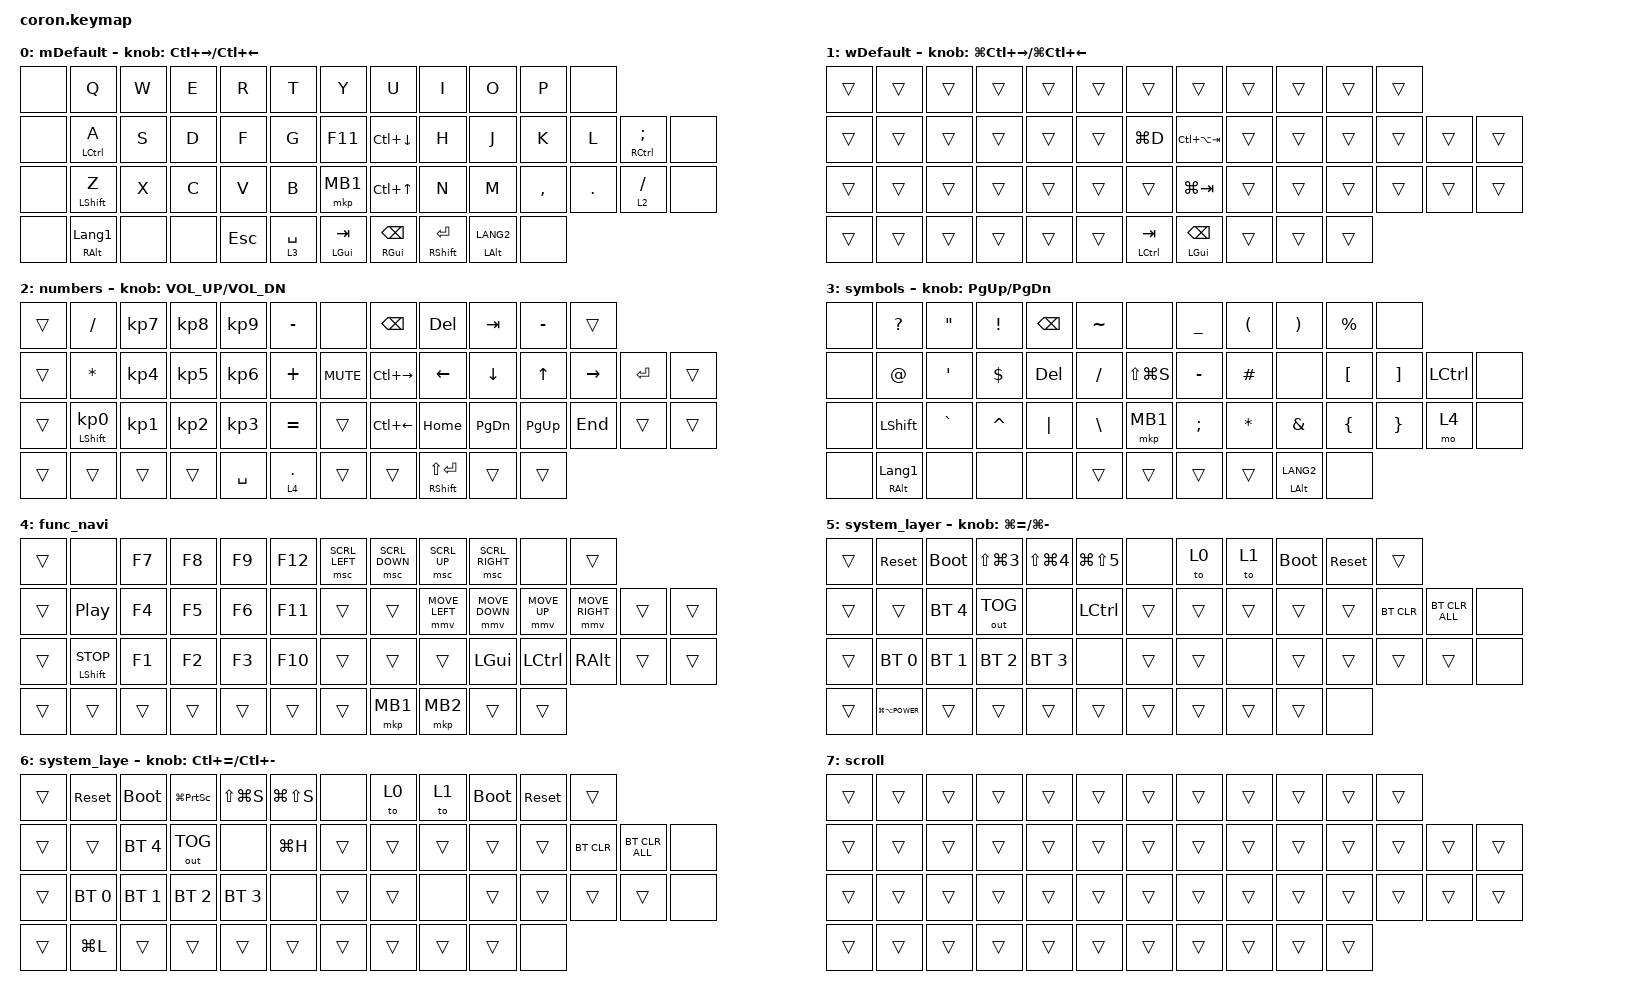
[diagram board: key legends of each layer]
/* coron.keymap */

#include <dt-bindings/zmk/input_transform.h>
#include <input/processors.dtsi>
#include <behaviors.dtsi>
#include <dt-bindings/zmk/bt.h>
#include <dt-bindings/zmk/keys.h>
#include <dt-bindings/zmk/outputs.h>
#include <dt-bindings/zmk/pointing.h>

&mt {
    flavor = "balanced";
    quick-tap-ms = <0>;
};

&trackball {
    scroll-layers = <3 7>;
    snipe-layers = <2>;
};

/ {
    combos {
        compatible = "zmk,combos";

        /* Note: Key positions have shifted due to added columns.
           You will need to recalculate these indices later. */

        to_mac_system {
            bindings = <&mo 5>;
            key-positions = <45 46>;
            layers = <0>;
        };

        to_win_system {
            bindings = <&mo 6>;
            key-positions = <45 46>;
            layers = <1>;
        };

        click {
            bindings = <&mkp MB1>;
            key-positions = <22 23>;
        };

        right_click {
            bindings = <&mkp MB2>;
            key-positions = <36 37>;
        };

        mid_click {
            bindings = <&mkp MB3>;
            key-positions = <9 8>;
        };

        mac_virtual_desk1 {
            bindings = <&kp LC(RIGHT)>;
            key-positions = <6 7>;
            layers = <0>;
        };

        mac_virtual_desktop2 {
            bindings = <&kp LC(LEFT)>;
            key-positions = <4 5>;
            layers = <0>;
        };

        win_virtual_desktop1 {
            bindings = <&kp LC(LG(RIGHT))>;
            key-positions = <6 7>;
            layers = <1>;
        };

        win_virtual_desktop2 {
            bindings = <&kp LC(LG(LEFT))>;
            key-positions = <5 4>;
            layers = <1>;
        };

        to_scroll {
            bindings = <&mo 7>;
            key-positions = <23 24>;
        };
    };

    macros {
        to_layer_0: to_layer_0 {
            compatible = "zmk,behavior-macro-one-param";
            #binding-cells = <1>;
            bindings = <&to 0 &macro_param_1to1 &kp MACRO_PLACEHOLDER>;
            label = "TO_LAYER_0";
        };
    };

    behaviors {
        lt_to_layer_0: lt_to_layer_0 {
            compatible = "zmk,behavior-hold-tap";
            label = "LAYER_TAP_TO_0";
            bindings = <&mo>, <&to_layer_0>;

            #binding-cells = <2>;
            tapping-term-ms = <200>;
        };

        mt2: mod_tap2 {
            compatible = "zmk,behavior-hold-tap";
            label = "mt2";
            bindings = <&kp>, <&kp>;

            #binding-cells = <2>;
            tapping-term-ms = <200>;
            flavor = "tap-preferred";
            quick-tap-ms = <200>;
            require-prior-idle-ms = <125>;
        };

        hold_mt: hold_mt {
            compatible = "zmk,behavior-hold-tap";
            label = "HOLD_MT";
            bindings = <&kp>, <&kp>;

            #binding-cells = <2>;
            tapping-term-ms = <200>;
            quick-tap-ms = <200>;
            require-prior-idle-ms = <125>;
        };
    };

    keymap {
        compatible = "zmk,keymap";

        mac_default {
            bindings = <
&none  &kp Q                      &kp W  &kp E  &kp R       &kp T        &kp Y              &kp U                         &kp I                   &kp O                &kp P      &none
&none  &mt2 LEFT_CONTROL A        &kp S  &kp D  &kp F       &kp G        &kp F11            &kp LC(DOWN)                  &kp H                   &kp J                &kp K      &kp L    &mt2 RIGHT_CONTROL SEMI  &none
&none  &mt LEFT_SHIFT Z           &kp X  &kp C  &kp V       &kp B        &mkp MB1           &kp LC(UP_ARROW)              &kp N                   &kp M                &kp COMMA  &kp DOT  &lt 2 SLASH              &none
&none  &mt2 RIGHT_ALT LANGUAGE_1  &none  &none  &kp ESCAPE  &lt 3 SPACE  &mt2 LEFT_GUI TAB  &hold_mt RIGHT_GUI BACKSPACE  &mt2 RIGHT_SHIFT ENTER  &mt2 LEFT_ALT LANG2  &none
            >;

            sensor-bindings = <&inc_dec_kp LC(RIGHT) LC(LEFT)>;
            label = "mDefault";
        };

        win_default {
            bindings = <
&trans  &trans  &trans  &trans  &trans  &trans  &trans                     &trans                   &trans  &trans  &trans  &trans
&trans  &trans  &trans  &trans  &trans  &trans  &kp LG(D)                  &kp LC(LA(TAB))          &trans  &trans  &trans  &trans  &trans  &trans
&trans  &trans  &trans  &trans  &trans  &trans  &trans                     &kp LG(TAB)              &trans  &trans  &trans  &trans  &trans  &trans
&trans  &trans  &trans  &trans  &trans  &trans  &hold_mt LEFT_CONTROL TAB  &mt2 LEFT_GUI BACKSPACE  &trans  &trans  &trans
            >;

            label = "wDefault";
            sensor-bindings = <&inc_dec_kp LG(LC(RIGHT)) LG(LC(LEFT))>;
        };

        numbers {
            bindings = <
&trans  &kp SLASH                   &kp KP_NUMBER_7  &kp KP_NUMBER_8  &kp KP_NUMBER_9  &kp MINUS  &none       &kp BACKSPACE  &kp DELETE             &kp TAB        &kp MINUS     &trans
&trans  &kp ASTERISK                &kp KP_NUMBER_4  &kp KP_NUMBER_5  &kp KP_NUMBER_6  &kp PLUS   &kp C_MUTE  &kp LC(RIGHT)  &kp LEFT               &kp DOWN       &kp UP_ARROW  &kp RIGHT  &kp ENTER  &trans
&trans  &mt LEFT_SHIFT KP_NUMBER_0  &kp KP_NUMBER_1  &kp KP_NUMBER_2  &kp KP_NUMBER_3  &kp EQUAL  &trans      &kp LC(LEFT)   &kp HOME               &kp PAGE_DOWN  &kp PG_UP     &kp END    &trans     &trans
&trans  &trans                      &trans           &trans           &kp SPACE        &lt 4 DOT  &trans      &trans         &mt2 RSHIFT LS(ENTER)  &trans         &trans
            >;

            sensor-bindings = <&inc_dec_kp C_VOLUME_UP C_VOL_DN>;
        };

        symbols {
            bindings = <
&none  &kp QUESTION               &kp DOUBLE_QUOTES  &kp EXCLAMATION  &kp BACKSPACE  &kp TILDE      &none          &kp UNDER      &kp LEFT_PARENTHESIS  &kp RIGHT_PARENTHESIS  &kp PERCENT       &none
&none  &kp AT                     &kp SINGLE_QUOTE   &kp DOLLAR       &kp DELETE     &kp SLASH      &kp LS(LG(S))  &kp MINUS      &kp HASH              &none                  &kp LEFT_BRACKET  &kp RIGHT_BRACKET  &kp LEFT_CONTROL  &none
&none  &kp LEFT_SHIFT             &kp GRAVE          &kp CARET        &kp PIPE       &kp BACKSLASH  &mkp MB1       &kp SEMICOLON  &kp ASTERISK          &kp AMPS               &kp LEFT_BRACE    &kp RIGHT_BRACE    &mo 4             &none
&none  &mt2 RIGHT_ALT LANGUAGE_1  &none              &none            &none          &trans         &trans         &trans         &trans                &mt2 LEFT_ALT LANG2    &none
            >;

            sensor-bindings = <&inc_dec_kp PG_UP PAGE_DOWN>;
            label = "symbols";
        };

        func_navi {
            bindings = <
&trans  &none                   &kp F7  &kp F8  &kp F9  &kp F12  &msc SCRL_LEFT  &msc SCRL_DOWN  &msc SCRL_UP    &msc SCRL_RIGHT  &none             &trans
&trans  &kp C_PP                &kp F4  &kp F5  &kp F6  &kp F11  &trans          &trans          &mmv MOVE_LEFT  &mmv MOVE_DOWN   &mmv MOVE_UP      &mmv MOVE_RIGHT  &trans  &trans
&trans  &mt2 LEFT_SHIFT C_STOP  &kp F1  &kp F2  &kp F3  &kp F10  &trans          &trans          &trans          &kp LEFT_GUI     &kp LEFT_CONTROL  &kp RIGHT_ALT    &trans  &trans
&trans  &trans                  &trans  &trans  &trans  &trans   &trans          &mkp MB1        &mkp MB2        &trans           &trans
            >;
        };

        mac_bt_shortcuts {
            bindings = <
&trans  &sys_reset           &bootloader   &kp LS(LG(NUMBER_3))  &kp LS(LG(NUMBER_4))  &kp LG(LS(N5))    &none   &to 0   &to 1   &bootloader  &sys_reset  &trans
&trans  &trans               &bt BT_SEL 4  &out OUT_TOG          &none                 &kp LEFT_CONTROL  &trans  &trans  &trans  &trans       &trans      &bt BT_CLR  &bt BT_CLR_ALL  &none
&trans  &bt BT_SEL 0         &bt BT_SEL 1  &bt BT_SEL 2          &bt BT_SEL 3          &none             &trans  &trans  &none   &trans       &trans      &trans      &trans          &none
&trans  &kp LG(LA(C_POWER))  &trans        &trans                &trans                &trans            &trans  &trans  &trans  &trans       &none
            >;

            label = "system_layer";
            sensor-bindings = <&inc_dec_kp LG(EQUAL) LG(MINUS)>;
        };

        win_bt_shortcuts {
            bindings = <
&trans  &sys_reset    &bootloader   &kp LG(PRINTSCREEN)  &kp LS(LG(S))  &kp LG(LS(S))  &none   &to 0   &to 1   &bootloader  &sys_reset  &trans
&trans  &trans        &bt BT_SEL 4  &out OUT_TOG         &none          &kp LG(H)      &trans  &trans  &trans  &trans       &trans      &bt BT_CLR  &bt BT_CLR_ALL  &none
&trans  &bt BT_SEL 0  &bt BT_SEL 1  &bt BT_SEL 2         &bt BT_SEL 3   &none          &trans  &trans  &none   &trans       &trans      &trans      &trans          &none
&trans  &kp LG(L)     &trans        &trans               &trans         &trans         &trans  &trans  &trans  &trans       &none
            >;

            label = "system_laye";
            sensor-bindings = <&inc_dec_kp LC(EQUAL) LC(MINUS)>;
        };

        scroll {
            bindings = <
&trans  &trans  &trans  &trans  &trans  &trans  &trans  &trans  &trans  &trans  &trans  &trans
&trans  &trans  &trans  &trans  &trans  &trans  &trans  &trans  &trans  &trans  &trans  &trans  &trans  &trans
&trans  &trans  &trans  &trans  &trans  &trans  &trans  &trans  &trans  &trans  &trans  &trans  &trans  &trans
&trans  &trans  &trans  &trans  &trans  &trans  &trans  &trans  &trans  &trans  &trans
            >;
        };
    };
};
